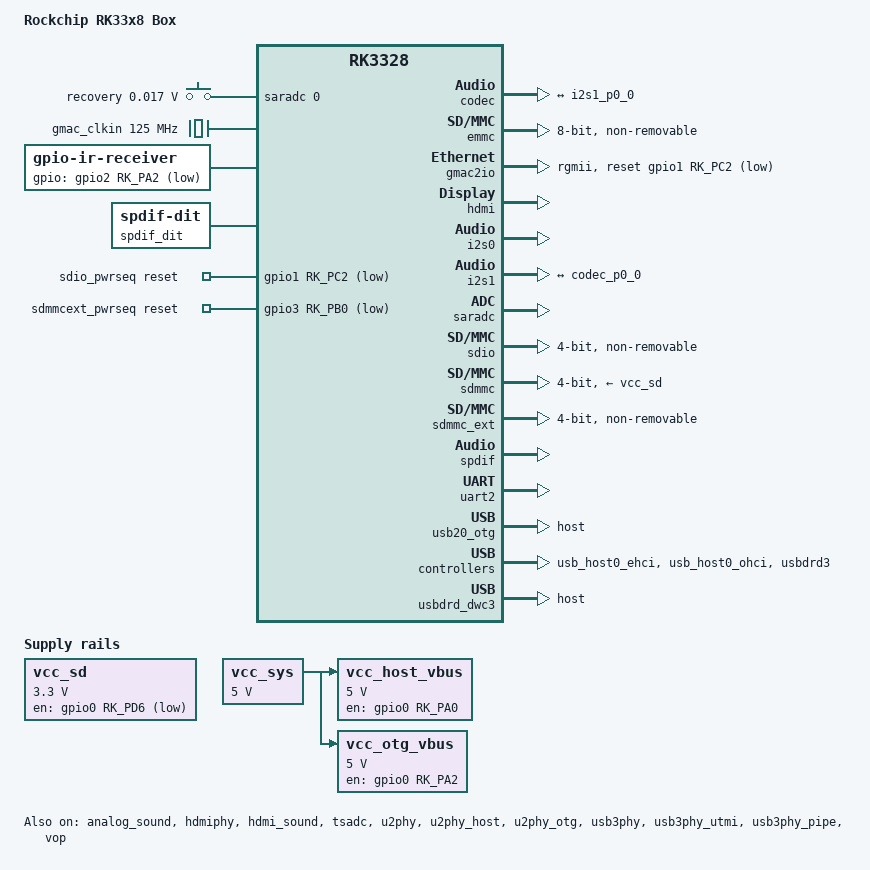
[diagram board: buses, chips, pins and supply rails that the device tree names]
// SPDX-License-Identifier: (GPL-2.0+ OR MIT)

/dts-v1/;
#include <dt-bindings/input/input.h>
#include "rk3328.dtsi"

/ {
	model = "Rockchip RK33x8 Box";

	chosen {
		stdout-path = "serial2:1500000n8";
	};

	adc-keys {
		compatible = "adc-keys";
		io-channels = <&saradc 0>;
		io-channel-names = "buttons";
		keyup-threshold-microvolt = <1800000>;
		poll-interval = <100>;

		recovery {
			label = "recovery";
			linux,code = <KEY_VENDOR>;
			press-threshold-microvolt = <17000>;
		};
	};

	gmac_clkin: external-gmac-clock {
		compatible = "fixed-clock";
		clock-frequency = <125000000>;
		clock-output-names = "gmac_clkin";
		#clock-cells = <0>;
	};

	/*
	 * since "vdd_log" usually also supplies other SoC components,
	 * we have to make sure it's voltage is at least 1050000 mV
	 * all the time
	 */

	gpu_opp_table: gpu-opp-table {
		compatible = "operating-points-v2";

		opp-200000000 {
			opp-hz = /bits/ 64 <200000000>;
			opp-microvolt = <1050000>;
		};
		opp-300000000 {
			opp-hz = /bits/ 64 <300000000>;
			opp-microvolt = <1050000>;
		};
		opp-400000000 {
			opp-hz = /bits/ 64 <400000000>;
			opp-microvolt = <1050000>;
		};
		opp-500000000 {
			opp-hz = /bits/ 64 <500000000>;
			opp-microvolt = <1150000>;
		};
	};

	ir-receiver {
		compatible = "gpio-ir-receiver";
		gpios = <&gpio2 RK_PA2 GPIO_ACTIVE_LOW>;
		pinctrl-0 = <&ir_int>;
		pinctrl-names = "default";
	};

	spdif-sound {
		compatible = "simple-audio-card";
		simple-audio-card,name = "SPDIF";
		simple-audio-card,cpu {
			sound-dai = <&spdif>;
		};
		simple-audio-card,codec {
			sound-dai = <&spdif_dit>;
		};
	};

	spdif_dit: spdif-dit {
		compatible = "linux,spdif-dit";
		#sound-dai-cells = <0>;
	};

	sdio_pwrseq: sdio-pwrseq {
		compatible = "mmc-pwrseq-simple";
		pinctrl-names = "default";
		pinctrl-0 = <&sdio_enable_h>;
		reset-gpios = <&gpio1 RK_PC2 GPIO_ACTIVE_LOW>;
	};

	sdmmcext_pwrseq: sdmmcext-pwrseq {
		compatible = "mmc-pwrseq-simple";
		pinctrl-names = "default";
		pinctrl-0 = <&sdmmcext_enable_h>;
		reset-gpios = <&gpio3 RK_PB0 GPIO_ACTIVE_LOW>;
	};

	vcc_host_vbus: host-vbus-regulator {
		compatible = "regulator-fixed";
		gpio = <&gpio0 RK_PA0 GPIO_ACTIVE_HIGH>;
		pinctrl-0 = <&host_vbus_drv>;
		pinctrl-names = "default";
		regulator-name = "vcc_host_vbus";
		regulator-min-microvolt = <5000000>;
		regulator-max-microvolt = <5000000>;
		vin-supply = <&vcc_sys>;
		enable-active-high;
	};


	vcc_otg_vbus: otg-vbus-regulator {
		compatible = "regulator-fixed";
		gpio = <&gpio0 RK_PA2 GPIO_ACTIVE_HIGH>;
		pinctrl-0 = <&otg_vbus_drv>;
		pinctrl-names = "default";
		regulator-name = "vcc_otg_vbus";
		regulator-min-microvolt = <5000000>;
		regulator-max-microvolt = <5000000>;
		vin-supply = <&vcc_sys>;
		enable-active-high;
	};

	vcc_sd: sdmmc-regulator {
		compatible = "regulator-fixed";
		gpio = <&gpio0 RK_PD6 GPIO_ACTIVE_LOW>;
		pinctrl-names = "default";
		pinctrl-0 = <&sdmmc0m1_pin>;
		regulator-name = "vcc_sd";
		regulator-min-microvolt = <3300000>;
		regulator-max-microvolt = <3300000>;
	};

	vcc_sys: vcc-sys {
		compatible = "regulator-fixed";
		regulator-name = "vcc_sys";
		regulator-always-on;
		regulator-boot-on;
		regulator-min-microvolt = <5000000>;
		regulator-max-microvolt = <5000000>;
	};

};

&analog_sound {
	status = "okay";
};

&codec {
	mute-gpios = <&grf_gpio 0 GPIO_ACTIVE_LOW>;
	status = "okay";

	port@0 {
		codec_p0_0: endpoint {
			remote-endpoint = <&i2s1_p0_0>;
		};
	};
};

&emmc {
	bus-width = <8>;
	cap-mmc-highspeed;
	non-removable;
	pinctrl-names = "default";
	pinctrl-0 = <&emmc_clk &emmc_cmd &emmc_bus8>;
	status = "okay";
};

&gmac2io {
	assigned-clocks = <&cru SCLK_MAC2IO>, <&cru SCLK_MAC2IO_EXT>;
	assigned-clock-parents = <&gmac_clkin>, <&gmac_clkin>;
	clock_in_out = "input";
	phy-mode = "rgmii";
	pinctrl-names = "default";
	pinctrl-0 = <&rgmiim1_pins>;
	snps,force_thresh_dma_mode;
	snps,reset-gpio = <&gpio1 RK_PC2 GPIO_ACTIVE_LOW>;
	snps,reset-active-low;
	snps,reset-delays-us = <0 10000 50000>;
};

&gmac2phy {
	clock_in_out = "output";
	assigned-clock-rate = <50000000>;
	assigned-clocks = <&cru SCLK_MAC2PHY>;
	assigned-clock-parents = <&cru SCLK_MAC2PHY_SRC>;
};

&gpu {
	operating-points-v2 = <&gpu_opp_table>;
};

&hdmi {
	status = "okay";
};

&hdmiphy {
	status = "okay";
};

&hdmi_sound {
	status = "okay";
};

&i2s0 {
	status = "okay";
};

&i2s1 {
	status = "okay";

	i2s1_p0: port {
		i2s1_p0_0: endpoint {
			dai-format = "i2s";
			mclk-fs = <256>;
			remote-endpoint = <&codec_p0_0>;
		};
	};
};

&pinctrl {

	bt {
		bt_host_wake_l: bt-host-wake-l {
			rockchip,pins = <1 RK_PD2 RK_FUNC_GPIO &pcfg_pull_none>;
		};
		bt_reg_on_h: bt-reg-on-h {
			rockchip,pins = <1 RK_PC5 RK_FUNC_GPIO &pcfg_pull_none>;
		};
		bt_wake_l: bt-wake-l {
			rockchip,pins = <1 RK_PC7 RK_FUNC_GPIO &pcfg_pull_none>;
		};
	};

	ir {
		ir_int: ir-int {
			rockchip,pins = <2 RK_PA2 RK_FUNC_GPIO &pcfg_pull_none>;
		};
	};

	sdio-pwrseq {
		sdio_enable_h: sdio-enable-h {
			rockchip,pins = <1 RK_PC2 RK_FUNC_GPIO &pcfg_pull_none>;
		};
	};

	sdmmcext-pwrseq {
		sdmmcext_enable_h: sdmmcext-enable-h {
			rockchip,pins = <3 RK_PB0 RK_FUNC_GPIO &pcfg_pull_none>;
		};
	};

	usb {
		host_vbus_drv: host-vbus-drv {
			rockchip,pins = <0 RK_PA0 RK_FUNC_GPIO &pcfg_pull_none>;
		};

		otg_vbus_drv: otg-vbus-drv {
			rockchip,pins = <0 RK_PA2 RK_FUNC_GPIO &pcfg_pull_none>;
		};
	};

	wifi {
		wifi_host_wake_l: wifi-host-wake-l {
			rockchip,pins = <3 RK_PA1 RK_FUNC_GPIO &pcfg_pull_none>;
		};
	};


};

&saradc {
	status = "okay";
};

&sdio {
	bus-width = <4>;
	cap-sd-highspeed;
	cap-sdio-irq;
	keep-power-in-suspend;
	mmc-pwrseq = <&sdio_pwrseq>;
	non-removable;
	pinctrl-0 = <&sdmmc1_bus4 &sdmmc1_cmd &sdmmc1_clk>;
	pinctrl-names = "default";
};

&sdmmc {
	bus-width = <4>;
	cap-sd-highspeed;
	pinctrl-0 = <&sdmmc0_clk &sdmmc0_cmd &sdmmc0_dectn &sdmmc0_bus4>;
	pinctrl-names = "default";
	vmmc-supply = <&vcc_sd>;
	status = "okay";
};

&sdmmc_ext {
	bus-width = <4>;
	cap-sd-highspeed;
	cap-sdio-irq;
	keep-power-in-suspend;
	max-frequency = <150000000>;
	mmc-pwrseq = <&sdmmcext_pwrseq>;
	non-removable;
	pinctrl-names = "default";
	pinctrl-0 = <&sdmmc0ext_bus4 &sdmmc0ext_cmd &sdmmc0ext_clk>;
};

&spdif {
	pinctrl-0 = <&spdifm0_tx>;
	status = "okay";
};

&tsadc {
	rockchip,hw-tshut-mode = <0>;
	rockchip,hw-tshut-polarity = <0>;
	status = "okay";
};

&uart2 {
	status = "okay";
};

&u2phy {
	status = "okay";
};

&u2phy_host {
	phy-supply = <&vcc_host_vbus>;
	status = "okay";
};

&u2phy_otg {
	phy-supply = <&vcc_otg_vbus>;
	status = "okay";
};

&usb20_otg {
	dr_mode = "host";
	status = "okay";
};

&usb_host0_ehci {
	status = "okay";
};

&usb_host0_ohci {
	status = "okay";
};

&usbdrd3 {
	status = "okay";
};

&usbdrd_dwc3 {
	dr_mode = "host";
	status = "okay";
};

&usb3phy {
	status = "okay";
};

&usb3phy_utmi {
	status = "okay";
};

&usb3phy_pipe {
	status = "okay";
};

&vop {
	status = "okay";
};

&vop_mmu {
	status = "okay";
};
